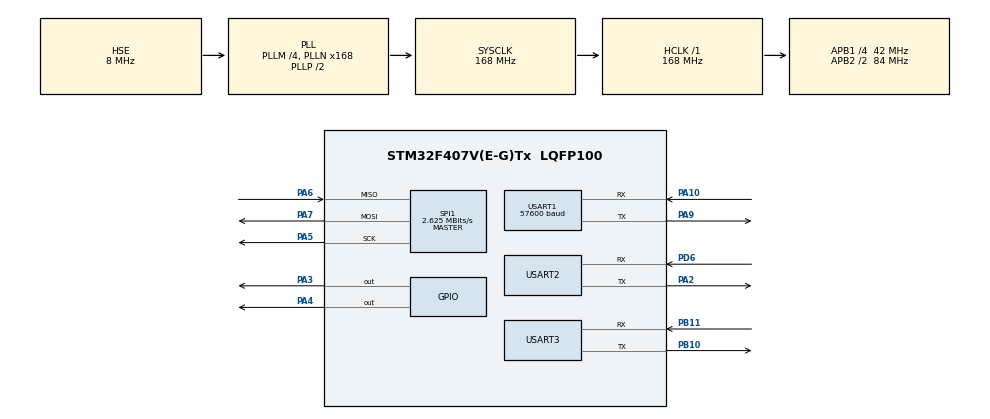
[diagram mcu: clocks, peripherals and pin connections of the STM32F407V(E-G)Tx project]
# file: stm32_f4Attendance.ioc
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FREERTOS.Mutexes01=xDbMutex,Dynamic,NULL,Available
FREERTOS.Queues01=xCardQueue,10,4,1,Dynamic,NULL,NULL;PrintQueue,20,80,1,Dynamic,NULL,NULL;xFingerQueue,10,2,1,Dynamic,NULL,NULL;xFaceQueue,4,uint8_t,0,Dynamic,NULL,NULL
FREERTOS.Tasks01=RC522_Task,32,256,vRC522Task,Default,NULL,Dynamic,NULL,NULL;attendance_Task,24,512,vAttendanceTask,Default,NULL,Dynamic,NULL,NULL;Print_Task,24,256,vPrintTask,Default,NULL,Dynamic,NULL,NULL;Finger_Task,32,384,vFingerTask,Default,NULL,Dynamic,NULL,NULL;FaceRxTask,32,256,vFaceRxTask,Default,NULL,Dynamic,NULL,NULL
Mcu.Family=STM32F4
Mcu.Name=STM32F407V(E-G)Tx
Mcu.Package=LQFP100
NVIC.PriorityGroup=NVIC_PRIORITYGROUP_4
NVIC.TIM1_UP_TIM10_IRQn=true\:15\:0\:false\:false\:true\:false\:false\:true\:true
NVIC.TimeBase=TIM1_UP_TIM10_IRQn
NVIC.TimeBaseIP=TIM1
NVIC.USART1_IRQn=true\:5\:0\:false\:false\:true\:true\:true\:true\:true
PA10.Mode=Asynchronous
PA10.Signal=USART1_RX
PA13.Mode=Serial_Wire
PA13.Signal=SYS_JTMS-SWDIO
PA14.Mode=Serial_Wire
PA14.Signal=SYS_JTCK-SWCLK
PA2.Mode=Asynchronous
PA2.Signal=USART2_TX
PA3.Signal=GPIO_Output
PA4.Signal=GPIO_Output
PA5.Mode=Full_Duplex_Master
PA5.Signal=SPI1_SCK
PA6.Mode=Full_Duplex_Master
PA6.Signal=SPI1_MISO
PA7.Mode=Full_Duplex_Master
PA7.Signal=SPI1_MOSI
PA9.Mode=Asynchronous
PA9.Signal=USART1_TX
PB10.Mode=Asynchronous
PB10.Signal=USART3_TX
PB11.Mode=Asynchronous
PB11.Signal=USART3_RX
PC14-OSC32_IN.Mode=LSE-External-Oscillator
PC14-OSC32_IN.Signal=RCC_OSC32_IN
PC15-OSC32_OUT.Mode=LSE-External-Oscillator
PC15-OSC32_OUT.Signal=RCC_OSC32_OUT
PD6.Mode=Asynchronous
PD6.Signal=USART2_RX
PH0-OSC_IN.Mode=HSE-External-Oscillator
PH0-OSC_IN.Signal=RCC_OSC_IN
PH1-OSC_OUT.Mode=HSE-External-Oscillator
PH1-OSC_OUT.Signal=RCC_OSC_OUT
ProjectManager.HeapSize=0x200
ProjectManager.StackSize=0x400
ProjectManager.TargetToolchain=MDK-ARM V5
RCC.48MHZClocksFreq_Value=84000000
RCC.AHBFreq_Value=168000000
RCC.APB1CLKDivider=RCC_HCLK_DIV4
RCC.APB1Freq_Value=42000000
RCC.APB1TimFreq_Value=84000000
RCC.APB2CLKDivider=RCC_HCLK_DIV2
RCC.APB2Freq_Value=84000000
RCC.APB2TimFreq_Value=168000000
RCC.CortexFreq_Value=168000000
RCC.HCLKFreq_Value=168000000
RCC.HSE_VALUE=8000000
RCC.HSI_VALUE=16000000
RCC.PLLM=4
RCC.PLLN=168
RCC.PLLSourceVirtual=RCC_PLLSOURCE_HSE
RCC.SYSCLKFreq_VALUE=168000000
RCC.SYSCLKSource=RCC_SYSCLKSOURCE_PLLCLK
RCC.VCOOutputFreq_Value=336000000
SPI1.BaudRatePrescaler=SPI_BAUDRATEPRESCALER_32
SPI1.CalculateBaudRate=2.625 MBits/s
SPI1.Direction=SPI_DIRECTION_2LINES
SPI1.Mode=SPI_MODE_MASTER
SPI1.VirtualType=VM_MASTER
USART1.BaudRate=57600
USART1.VirtualMode=VM_ASYNC
USART2.VirtualMode=VM_ASYNC
USART3.VirtualMode=VM_ASYNC
VP_FREERTOS_VS_CMSIS_V2.Mode=CMSIS_V2
VP_SYS_VS_tim1.Mode=TIM1
board=custom

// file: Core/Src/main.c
/* USER CODE BEGIN Header */
/**
  ******************************************************************************
  * @file           : main.c
  * @brief          : Main program body
  ******************************************************************************
  * @attention
  *
  * Copyright (c) 2026 STMicroelectronics.
  * All rights reserved.
  *
  * This software is licensed under terms that can be found in the LICENSE file
  * in the root directory of this software component.
  * If no LICENSE file comes with this software, it is provided AS-IS.
  *
  ******************************************************************************
  */
/* USER CODE END Header */
#include "main.h"
#include "cmsis_os.h"
#include "spi.h"
#include "usart.h"
#include "gpio.h"

/* USER CODE BEGIN Includes */
#include "database.h"
#include "rc522.h"
/* USER CODE END Includes */

void SystemClock_Config(void);
void MX_FREERTOS_Init(void);

/* USER CODE BEGIN 0 */
#ifdef __GNUC__
#define PUTCHAR_PROTOTYPE int __io_putchar(int ch)
#else
#define PUTCHAR_PROTOTYPE int fputc(int ch, FILE *f)
#endif

PUTCHAR_PROTOTYPE {
    HAL_UART_Transmit(&huart2, (uint8_t *)&ch, 1, HAL_MAX_DELAY);
    return ch;
}
/* USER CODE END 0 */

int main(void)
{

  /* MCU Configuration--------------------------------------------------------*/

  /* Reset of all peripherals, Initializes the Flash interface and the Systick. */
  HAL_Init();

  /* Configure the system clock */
  SystemClock_Config();

  /* Initialize all configured peripherals */
  MX_GPIO_Init();
  MX_SPI1_Init();
  MX_USART2_UART_Init();
  MX_USART1_UART_Init();
  MX_USART3_UART_Init();
  /* USER CODE BEGIN 2 */
   DB_Init();
   DB_PrintAll();
	 printf("=== Attendance System Started ===\r\n");
  /* USER CODE END 2 */

  /* Init scheduler */
  osKernelInitialize();  /* Call init function for freertos objects (in cmsis_os2.c) */
  MX_FREERTOS_Init();

  /* Start scheduler */
  osKernelStart();

  /* We should never get here as control is now taken by the scheduler */

  /* Infinite loop */
  while (1)
  {

  }
}

void SystemClock_Config(void)
{
  RCC_OscInitTypeDef RCC_OscInitStruct = {0};
  RCC_ClkInitTypeDef RCC_ClkInitStruct = {0};

  /** Configure the main internal regulator output voltage
  */
  __HAL_RCC_PWR_CLK_ENABLE();
  __HAL_PWR_VOLTAGESCALING_CONFIG(PWR_REGULATOR_VOLTAGE_SCALE1);

  /** Initializes the RCC Oscillators according to the specified parameters
  * in the RCC_OscInitTypeDef structure.
  */
  RCC_OscInitStruct.OscillatorType = RCC_OSCILLATORTYPE_HSE;
  RCC_OscInitStruct.HSEState = RCC_HSE_ON;
  RCC_OscInitStruct.PLL.PLLState = RCC_PLL_ON;
  RCC_OscInitStruct.PLL.PLLSource = RCC_PLLSOURCE_HSE;
  RCC_OscInitStruct.PLL.PLLM = 4;
  RCC_OscInitStruct.PLL.PLLN = 168;
  RCC_OscInitStruct.PLL.PLLP = RCC_PLLP_DIV2;
  RCC_OscInitStruct.PLL.PLLQ = 4;
  if (HAL_RCC_OscConfig(&RCC_OscInitStruct) != HAL_OK)
  {
    Error_Handler();
  }

  /** Initializes the CPU, AHB and APB buses clocks
  */
  RCC_ClkInitStruct.ClockType = RCC_CLOCKTYPE_HCLK|RCC_CLOCKTYPE_SYSCLK
                              |RCC_CLOCKTYPE_PCLK1|RCC_CLOCKTYPE_PCLK2;
  RCC_ClkInitStruct.SYSCLKSource = RCC_SYSCLKSOURCE_PLLCLK;
  RCC_ClkInitStruct.AHBCLKDivider = RCC_SYSCLK_DIV1;
  RCC_ClkInitStruct.APB1CLKDivider = RCC_HCLK_DIV4;
  RCC_ClkInitStruct.APB2CLKDivider = RCC_HCLK_DIV2;

  if (HAL_RCC_ClockConfig(&RCC_ClkInitStruct, FLASH_LATENCY_5) != HAL_OK)
  {
    Error_Handler();
  }
}

void HAL_TIM_PeriodElapsedCallback(TIM_HandleTypeDef *htim)
{
  if (htim->Instance == TIM1)
  {
    HAL_IncTick();
  }
}

void Error_Handler(void)
{
  __disable_irq();
  while (1)
  {
  }
}

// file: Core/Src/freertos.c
/* USER CODE BEGIN Header */
/**
  ******************************************************************************
  * File Name          : freertos.c
  * Description        : Code for freertos applications
  ******************************************************************************
  * @attention
  *
  * Copyright (c) 2026 STMicroelectronics.
  * All rights reserved.
  *
  * This software is licensed under terms that can be found in the LICENSE file
  * in the root directory of this software component.
  * If no LICENSE file comes with this software, it is provided AS-IS.
  *
  ******************************************************************************
  */
/* USER CODE END Header */

#include "FreeRTOS.h"
#include "task.h"
#include "main.h"
#include "cmsis_os.h"

/* USER CODE BEGIN Includes */
#include "rc522.h"
#include "database.h"
#include "as608_task.h"
#include <stdio.h>
#include <string.h>
#include "usart.h"
#include <stdlib.h>
/* USER CODE END Includes */

/* USER CODE BEGIN PTD */
// readCard������rc522_task.c�ж���
uint8_t readCard(uint8_t *readUid, void(*funCallBack)(void))
{
	uint8_t Temp[5];
	if (PCD_Request(0x52, Temp) == 0)
	{
		if (PCD_Anticoll(readUid) == 0)
		{
			if(funCallBack != NULL)
				funCallBack();
			return 0;
		}
	}
	return 1;
}

/* USER CODE END PTD */

/* USER CODE BEGIN PD */
extern uint8_t aRxBuffer[128];
extern uint32_t AS608Addr;
extern uint8_t RX_len;
/* USER CODE END PD */

/* Definitions for RC522_Task */
osThreadId_t RC522_TaskHandle;
const osThreadAttr_t RC522_Task_attributes = {
  .name = "RC522_Task",
  .stack_size = 256 * 4,
  .priority = (osPriority_t) osPriorityAboveNormal,
};
/* Definitions for attendance_Task */
osThreadId_t attendance_TaskHandle;
const osThreadAttr_t attendance_Task_attributes = {
  .name = "attendance_Task",
  .stack_size = 512 * 4,
  .priority = (osPriority_t) osPriorityNormal,
};
/* Definitions for Print_Task */
osThreadId_t Print_TaskHandle;
const osThreadAttr_t Print_Task_attributes = {
  .name = "Print_Task",
  .stack_size = 256 * 4,
  .priority = (osPriority_t) osPriorityNormal,
};
/* Definitions for Finger_Task */
osThreadId_t Finger_TaskHandle;
const osThreadAttr_t Finger_Task_attributes = {
  .name = "Finger_Task",
  .stack_size = 384 * 4,
  .priority = (osPriority_t) osPriorityAboveNormal,
};
/* Definitions for FaceRxTask */
osThreadId_t FaceRxTaskHandle;
const osThreadAttr_t FaceRxTask_attributes = {
  .name = "FaceRxTask",
  .stack_size = 256 * 4,
  .priority = (osPriority_t) osPriorityAboveNormal,
};
/* Definitions for xCardQueue */
osMessageQueueId_t xCardQueueHandle;
const osMessageQueueAttr_t xCardQueue_attributes = {
  .name = "xCardQueue"
};
/* Definitions for PrintQueue */
osMessageQueueId_t PrintQueueHandle;
const osMessageQueueAttr_t PrintQueue_attributes = {
  .name = "PrintQueue"
};
/* Definitions for xFingerQueue */
osMessageQueueId_t xFingerQueueHandle;
const osMessageQueueAttr_t xFingerQueue_attributes = {
  .name = "xFingerQueue"
};
/* Definitions for xFaceQueue */
osMessageQueueId_t xFaceQueueHandle;
const osMessageQueueAttr_t xFaceQueue_attributes = {
  .name = "xFaceQueue"
};
/* Definitions for xDbMutex */
osMutexId_t xDbMutexHandle;
const osMutexAttr_t xDbMutex_attributes = {
  .name = "xDbMutex"
};

void vRC522Task(void *argument);
void vAttendanceTask(void *argument);
void vPrintTask(void *argument);
void vFingerTask(void *argument);
void vFaceRxTask(void *argument);

void MX_FREERTOS_Init(void); /* (MISRA C 2004 rule 8.1) */

void MX_FREERTOS_Init(void) {
  /* Create the mutex(es) */
  /* creation of xDbMutex */
  xDbMutexHandle = osMutexNew(&xDbMutex_attributes);

  /* Create the queue(s) */
  /* creation of xCardQueue */
  xCardQueueHandle = osMessageQueueNew (10, 4, &xCardQueue_attributes);

  /* creation of PrintQueue */
  PrintQueueHandle = osMessageQueueNew (20, 80, &PrintQueue_attributes);

  /* creation of xFingerQueue */
  xFingerQueueHandle = osMessageQueueNew (10, 2, &xFingerQueue_attributes);

  /* creation of xFaceQueue */
  xFaceQueueHandle = osMessageQueueNew (4, sizeof(uint8_t), &xFaceQueue_attributes);

  /* Create the thread(s) */
  /* creation of RC522_Task */
  RC522_TaskHandle = osThreadNew(vRC522Task, NULL, &RC522_Task_attributes);

  /* creation of attendance_Task */
  attendance_TaskHandle = osThreadNew(vAttendanceTask, NULL, &attendance_Task_attributes);

  /* creation of Print_Task */
  Print_TaskHandle = osThreadNew(vPrintTask, NULL, &Print_Task_attributes);

  /* creation of Finger_Task */
  Finger_TaskHandle = osThreadNew(vFingerTask, NULL, &Finger_Task_attributes);

  /* creation of FaceRxTask */
  FaceRxTaskHandle = osThreadNew(vFaceRxTask, NULL, &FaceRxTask_attributes);

}

void vRC522Task(void *argument)
{
  /* USER CODE BEGIN vRC522Task */

	 uint8_t readUid[4];
    CardUID_t card_uid;

    PCD_Reset();
    printf("[RC522] Task Started\r\n");

  /* Infinite loop */
  for(;;)
  {
		 if(!readCard(readUid, NULL)) {

            memcpy(card_uid.data, readUid, 4);

            printf("[RC522] Card detected: %02X-%02X-%02X-%02X\r\n",
                   readUid[0], readUid[1], readUid[2], readUid[3]);

            if(osMessageQueuePut(xCardQueueHandle, &card_uid, 0, 0) == osOK) {
                osDelay(1000);
            } else {
                printf("[RC522] Queue full!\r\n");
            }
        }

    osDelay(500);  // ��ѯ���100ms
    osDelay(1);
  }
  /* USER CODE END vRC522Task */
}

void vAttendanceTask(void *argument)
{
  /* USER CODE BEGIN vAttendanceTask */
	 CardUID_t card_uid;
    FingerID_t finger_data;
    const Personnel_t *person;
    char msg[80];
	  printf("[Attendance] Task Started\r\n");
	  uint8_t face_id;
  /* Infinite loop */
  for(;;)
  {

        if(osMessageQueueGet(xCardQueueHandle, &card_uid, NULL, 0) == osOK) {

            person = DB_FindByUID(&card_uid);

            if(person != NULL) {

                snprintf(msg, sizeof(msg),
                        "[Card] Welcome, %s %s! (Card: %02X-%02X-%02X-%02X)\r\n",
                        person->student_id,
                        person->name,
                        card_uid.data[0], card_uid.data[1],
                        card_uid.data[2], card_uid.data[3]);
            } else {

                snprintf(msg, sizeof(msg),
                        "[Card] Visitor, please contact administrator! "
                        "(Card: %02X-%02X-%02X-%02X)\r\n",
                        card_uid.data[0], card_uid.data[1],
                        card_uid.data[2], card_uid.data[3]);
            }

            osMessageQueuePut(PrintQueueHandle, msg, 0, 0);
        }

        if(osMessageQueueGet(xFingerQueueHandle, &finger_data, NULL, 0) == osOK) {

            person = DB_FindByFinger(finger_data.finger_id);

            if(person != NULL) {

                snprintf(msg, sizeof(msg),
                        "[Finger] Welcome, %s %s! (Finger ID: %d)\r\n",
                        person->student_id,
                        person->name,
                        finger_data.finger_id);
            } else {

                snprintf(msg, sizeof(msg),
                        "[Finger] Unregistered fingerprint! (Finger ID: %d)\r\n",
                        finger_data.finger_id);
            }

            osMessageQueuePut(PrintQueueHandle, msg, 0, 0);
        }
		// 检查人脸队列（非阻塞，0超时）
if(osMessageQueueGet(xFaceQueueHandle, &face_id, NULL, 0) == osOK) {

    const Personnel_t* person = DB_FindByFace(face_id);
    char msg[80];

    if(person != NULL) {
        snprintf(msg, sizeof(msg),
                "[Face] Welcome, %s %s! (Face ID: %d)\r\n",
                person->student_id,
                person->name,
                face_id);
    } else {
        snprintf(msg, sizeof(msg),
                "[Face] Please contact administrator! (Face ID: %d)\r\n",
                face_id);
    }

    osMessageQueuePut(PrintQueueHandle, msg, 0, 0);
}
        osDelay(10);
  }
  /* USER CODE END vAttendanceTask */
}

void vPrintTask(void *argument)
{
  /* USER CODE BEGIN vPrintTask */
	char msg[80];

    // 启动提示也发给ESP32（如果ESP32已就绪，会在串口助手显示这行）
    HAL_UART_Transmit(&huart2, (uint8_t*)"[STM32] PrintTask Started\r\n", 27, 100);

  /* Infinite loop */
  for(;;)
  {
		if(osMessageQueueGet(PrintQueueHandle, msg, NULL, osWaitForever) == osOK) {
            // 统一走USART2给ESP32
            HAL_UART_Transmit(&huart2, (uint8_t*)msg, strlen(msg), 200);
        }
    osDelay(1);
  }
  /* USER CODE END vPrintTask */
}

//void vPrintTask(void *argument)
//{
  /* USER CODE BEGIN vPrintTask */
//	char msg[80];

//    printf("[Print] Task Started\r\n");
  /* Infinite loop */
//  for(;;)
//  {
//		if(osMessageQueueGet(PrintQueueHandle, msg, NULL, osWaitForever) == osOK) {
            // 通过USART2输出
 //           printf("%s", msg);
//        }
//    osDelay(1);
//  }
  /* USER CODE END vPrintTask */
//}

void vFingerTask(void *argument)
{
  /* USER CODE BEGIN vFingerTask */
    uint16_t finger_id;
    FingerID_t finger_data;
    uint8_t ensure;

    osDelay(1000);  // �ȴ�ϵͳ�ȶ�
    AS608_Init();

    printf("[Finger] Task Started\r\n");

  /* Infinite loop */
  for(;;)
  {

        ensure = AS608_Identify(&finger_id);

        if(ensure == 0x00) {
            // ʶ���ɹ�
            finger_data.finger_id = finger_id;

            if(osMessageQueuePut(xFingerQueueHandle, &finger_data, 0, 0) == osOK) {
                printf("[Finger] Finger ID %d sent to queue\r\n", finger_id);
                osDelay(2000);
            } else {
                printf("[Finger] Queue full!\r\n");
            }
        }

        osDelay(500);  // ��ѯ���500ms
  }
  /* USER CODE END vFingerTask */
}

void vFaceRxTask(void *argument)
{
  /* USER CODE BEGIN vFaceRxTask */
  uint8_t face_id;
  printf("[Face] RX Task Started\r\n");
  /* Infinite loop */
  for(;;)
  {
		 // 直接收一个字节
        if(HAL_UART_Receive(&huart3, &face_id, 1, 100) == HAL_OK) {
            printf("[Face] RX ID: %d\r\n", face_id);

            // 发送到队列
            if(osMessageQueuePut(xFaceQueueHandle, &face_id, 0, 0) != osOK) {
                printf("[Face] Queue full!\r\n");
            }
        }

    osDelay(10);
  }
  /* USER CODE END vFaceRxTask */
}
